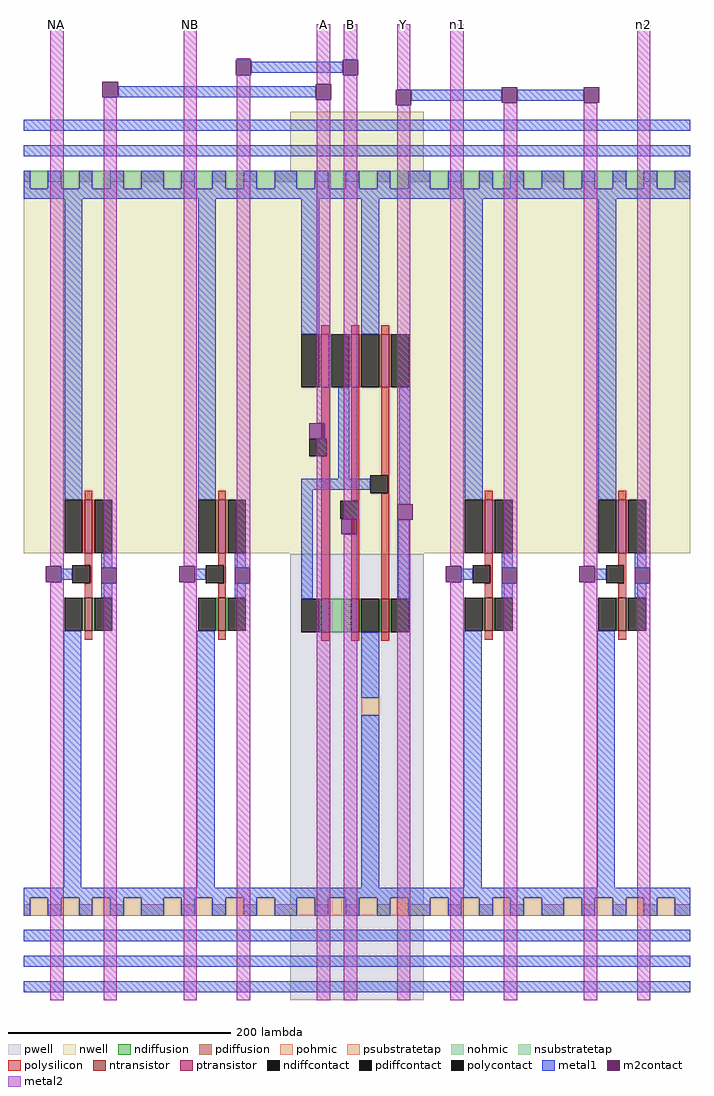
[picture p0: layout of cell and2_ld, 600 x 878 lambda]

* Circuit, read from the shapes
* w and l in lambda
.subckt and2_ld A B GND! NA NB Vdd! Y n1 n2
M1 A NA GND! VSUBS nfet w=30 l=7
M2 B NB GND! VSUBS nfet w=30 l=7
M3 n3 A n4 VSUBS nfet w=30 l=7
M4 n5 B n3 VSUBS nfet w=30 l=7
M5 Y n4 n5 VSUBS nfet w=30 l=7
M6 Y n1 GND! VSUBS nfet w=30 l=7
M7 n2 Y GND! VSUBS nfet w=30 l=7
M8 A NA Vdd! n6 pfet w=48 l=7
M9 B NB Vdd! n6 pfet w=48 l=7
M10 n4 A Vdd! n6 pfet w=48 l=7
M11 Vdd! B n4 n6 pfet w=48 l=7
M12 Y n4 Vdd! n6 pfet w=48 l=7
M13 Y n1 Vdd! n6 pfet w=48 l=7
M14 n2 Y Vdd! n6 pfet w=48 l=7
.ends

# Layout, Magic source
magic
tech c035u
<< metal1 >>
rect 205 834 287 844
rect 85 812 263 822
rect 349 809 430 819
rect 444 809 504 819
<< m2contact >>
rect 191 832 205 846
rect 287 832 301 846
rect 71 812 85 826
rect 263 810 277 824
rect 335 805 349 819
rect 430 807 444 821
rect 504 807 518 821
<< metal2 >>
rect 24 799 36 878
rect 72 799 84 812
rect 144 799 156 878
rect 192 846 204 847
rect 192 799 204 832
rect 264 824 276 878
rect 288 846 300 878
rect 264 799 276 810
rect 288 799 300 832
rect 336 819 348 878
rect 336 799 348 805
rect 384 799 396 878
rect 432 799 444 807
rect 504 799 516 807
rect 552 799 564 878
use inv inv_3
transform 1 0 0 0 1 0
box 0 0 120 799
use inv inv_2
transform 1 0 120 0 1 0
box 0 0 120 799
use and2 and2_0
transform 1 0 240 0 1 0
box 0 0 120 799
use inv inv_0
transform 1 0 360 0 1 0
box 0 0 120 799
use inv inv_1
transform 1 0 480 0 1 0
box 0 0 120 799
<< labels >>
rlabel metal2 384 878 396 878 5 n1
rlabel metal2 552 878 564 878 5 n2
rlabel metal2 336 878 348 878 5 Y
rlabel metal2 24 878 36 878 5 NA
rlabel metal2 144 878 156 878 5 NB
rlabel metal2 264 878 276 878 5 A
rlabel metal2 288 878 300 878 5 B
<< end >>

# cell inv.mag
magic
tech c035u
<< nwell >>
rect 0 402 120 746
<< polysilicon >>
rect 55 450 62 458
rect 55 391 62 402
rect 60 375 62 391
rect 55 362 62 375
rect 55 324 62 332
<< ndiffusion >>
rect 53 332 55 362
rect 62 332 64 362
<< pdiffusion >>
rect 53 402 55 450
rect 62 402 64 450
<< pohmic >>
rect 0 76 6 86
rect 22 76 34 86
rect 50 76 62 86
rect 78 76 90 86
rect 106 76 120 86
<< nohmic >>
rect 0 736 6 746
rect 22 736 34 746
rect 50 736 62 746
rect 78 736 90 746
rect 106 736 120 746
<< ntransistor >>
rect 55 332 62 362
<< ptransistor >>
rect 55 402 62 450
<< polycontact >>
rect 44 375 60 391
<< ndiffcontact >>
rect 37 332 53 362
rect 64 332 80 362
<< pdiffcontact >>
rect 37 402 53 450
rect 64 402 80 450
<< psubstratetap >>
rect 6 76 22 92
rect 34 76 50 92
rect 62 76 78 92
rect 90 76 106 92
<< nsubstratetap >>
rect 6 730 22 746
rect 34 730 50 746
rect 62 730 78 746
rect 90 730 106 746
<< metal1 >>
rect 0 782 120 792
rect 0 759 120 769
rect 0 730 6 746
rect 22 730 34 746
rect 50 730 62 746
rect 78 730 90 746
rect 106 730 120 746
rect 0 721 120 730
rect 37 450 53 721
rect 34 378 44 388
rect 70 389 80 402
rect 70 362 80 375
rect 36 101 52 332
rect 0 92 120 101
rect 0 76 6 92
rect 22 76 34 92
rect 50 76 62 92
rect 78 76 90 92
rect 106 76 120 92
rect 0 53 120 63
rect 0 30 120 40
rect 0 7 120 17
<< m2contact >>
rect 20 376 34 390
rect 70 375 84 389
<< metal2 >>
rect 24 390 36 799
rect 34 376 36 390
rect 72 389 84 799
rect 24 0 36 376
rect 72 0 84 375
<< labels >>
rlabel metal1 0 721 0 746 7 Vdd!
rlabel metal1 0 759 0 769 7 Scan
rlabel metal1 0 782 0 792 6 ScanReturn
rlabel metal1 120 721 120 746 7 Vdd!
rlabel metal1 120 759 120 769 7 Scan
rlabel metal1 120 782 120 792 6 ScanReturn
rlabel metal2 24 799 36 799 5 A
rlabel metal2 72 799 84 799 5 Y
rlabel metal1 0 76 0 101 7 GND!
rlabel metal1 0 53 0 63 7 Clock
rlabel metal1 0 30 0 40 7 Test
rlabel metal1 0 7 0 17 8 nReset
rlabel metal1 120 7 120 17 8 nReset
rlabel metal1 120 30 120 40 7 Test
rlabel metal1 120 53 120 63 7 Clock
rlabel metal1 120 76 120 101 7 GND!
rlabel metal2 24 0 36 0 1 A
rlabel metal2 72 0 84 0 1 Y
<< end >>

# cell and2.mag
magic
tech c035u
<< nwell >>
rect 0 401 120 799
<< pwell >>
rect 0 0 120 401
<< polysilicon >>
rect 28 599 35 607
rect 55 599 62 607
rect 82 599 89 607
rect 28 505 35 551
rect 33 489 35 505
rect 28 361 35 489
rect 55 449 62 551
rect 82 472 89 551
rect 88 456 89 472
rect 61 433 62 449
rect 55 361 62 433
rect 82 361 89 456
rect 28 323 35 331
rect 55 323 62 331
rect 82 323 89 331
<< ndiffusion >>
rect 26 331 28 361
rect 35 331 55 361
rect 62 331 64 361
rect 80 331 82 361
rect 89 331 91 361
<< pdiffusion >>
rect 26 551 28 599
rect 35 551 37 599
rect 53 551 55 599
rect 62 551 64 599
rect 80 551 82 599
rect 89 551 91 599
<< pohmic >>
rect 0 76 6 86
rect 22 76 34 86
rect 50 76 62 86
rect 78 76 90 86
rect 106 76 120 86
<< nohmic >>
rect 0 736 6 746
rect 22 736 34 746
rect 50 736 62 746
rect 78 736 90 746
rect 106 736 120 746
<< ntransistor >>
rect 28 331 35 361
rect 55 331 62 361
rect 82 331 89 361
<< ptransistor >>
rect 28 551 35 599
rect 55 551 62 599
rect 82 551 89 599
<< polycontact >>
rect 17 489 33 505
rect 72 456 88 472
rect 45 433 61 449
<< ndiffcontact >>
rect 10 331 26 361
rect 64 331 80 361
rect 91 331 107 361
<< pdiffcontact >>
rect 10 551 26 599
rect 37 551 53 599
rect 64 551 80 599
rect 91 551 107 599
<< psubstratetap >>
rect 64 256 80 272
rect 6 76 22 92
rect 34 76 50 92
rect 62 76 78 92
rect 90 76 106 92
<< nsubstratetap >>
rect 6 730 22 746
rect 34 730 50 746
rect 62 730 78 746
rect 90 730 106 746
<< metal1 >>
rect 0 782 120 792
rect 0 759 120 769
rect 0 730 6 746
rect 22 730 34 746
rect 50 730 62 746
rect 78 730 90 746
rect 106 730 120 746
rect 0 721 120 730
rect 10 599 26 721
rect 64 599 80 721
rect 107 551 108 561
rect 43 469 53 551
rect 10 459 72 469
rect 10 361 20 459
rect 98 446 108 551
rect 97 361 107 432
rect 64 272 80 331
rect 64 101 80 256
rect 0 92 120 101
rect 0 76 6 92
rect 22 76 34 92
rect 50 76 62 92
rect 78 76 90 92
rect 106 76 120 92
rect 0 53 120 63
rect 0 30 120 40
rect 0 7 120 17
<< m2contact >>
rect 17 505 31 519
rect 46 419 60 433
rect 96 432 110 446
<< metal2 >>
rect 24 599 36 799
rect 24 551 37 599
rect 24 519 36 551
rect 31 505 36 519
rect 24 0 36 505
rect 48 449 60 799
rect 48 433 61 449
rect 96 446 108 799
rect 48 0 60 419
rect 96 0 108 432
<< labels >>
rlabel metal1 0 76 0 101 3 GND!
rlabel metal1 0 53 0 63 3 Clock
rlabel metal1 0 30 0 40 3 Test
rlabel metal1 0 7 0 17 2 nReset
rlabel metal1 120 76 120 101 1 GND!
rlabel metal1 120 53 120 63 7 Clock
rlabel metal1 120 30 120 40 7 Test
rlabel metal1 120 7 120 17 8 nReset
rlabel metal2 96 0 108 0 1 Y
rlabel metal2 24 0 36 0 1 A
rlabel metal2 48 0 60 0 1 B
rlabel metal1 0 782 0 792 4 ScanReturn
rlabel metal1 0 759 0 769 3 Scan
rlabel metal1 0 721 0 746 3 Vdd!
rlabel metal1 120 782 120 792 6 ScanReturn
rlabel metal1 120 759 120 769 7 Scan
rlabel metal1 120 721 120 746 7 Vdd!
rlabel metal2 24 799 36 799 5 A
rlabel metal2 48 799 60 799 5 B
rlabel metal2 96 799 108 799 5 Y
<< end >>
